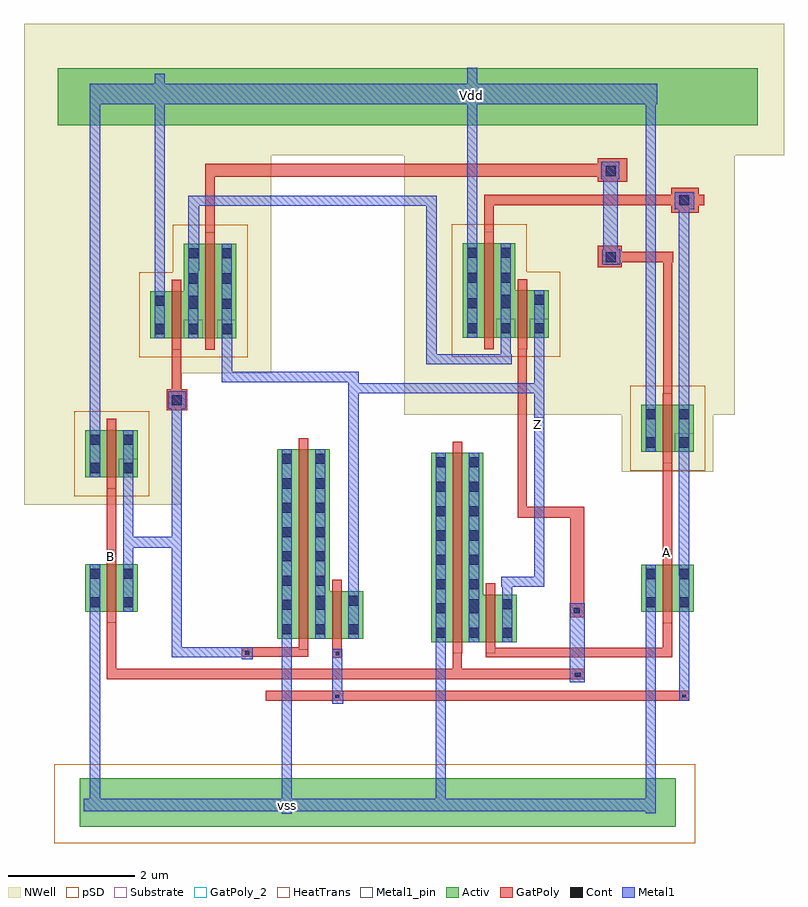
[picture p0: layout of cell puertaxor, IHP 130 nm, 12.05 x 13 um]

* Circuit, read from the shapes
.subckt puertaxor A B Vdd Z vss
XM1 n1 B vss vss sg13_lv_nmos w=0.75u l=0.15u
XM2 n2 n1 vss vss sg13_lv_nmos w=3u l=0.15u
XM3 Z n3 n2 vss sg13_lv_nmos w=0.75u l=0.15u
XM4 n4 B vss vss sg13_lv_nmos w=3u l=0.15u
XM5 Z A n4 vss sg13_lv_nmos w=0.75u l=0.15u
XM6 n3 A vss vss sg13_lv_nmos w=0.75u l=0.15u
XM7 n1 B Vdd Vdd sg13_lv_pmos w=0.75u l=0.15u
XM8 n5 n1 Vdd Vdd sg13_lv_pmos w=0.75u l=0.15u
XM9 Z A n5 Vdd sg13_lv_pmos w=1.5u l=0.15u
XM10 n5 n3 Vdd Vdd sg13_lv_pmos w=1.5u l=0.15u
XM11 Z B n5 Vdd sg13_lv_pmos w=0.75u l=0.15u
XM12 n3 A Vdd Vdd sg13_lv_pmos w=0.75u l=0.15u
.ends

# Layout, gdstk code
import gdstk
lib = gdstk.Library(unit=1e-6, precision=5e-09)
def R(c, l, rs):  # rectangles x0, y0, x1, y1
    for r in rs: c.add(gdstk.rectangle(r[:2], r[2:], *l))
def A(c, l, x, y, w, h, nx, ny, dx, dy):  # array of equal rectangles
    R(c, l, [(x+i*dx, y+j*dy, x+i*dx+w, y+j*dy+h) for i in range(nx) for j in range(ny)])
Activ = (1, 0)
GatPoly = (5, 0)
GatPoly_2 = (5, 2)
Cont = (6, 0)
Metal1 = (8, 0)
Metal1_pin = (8, 2)
pSD = (14, 0)
NWell = (31, 0)
Substrate = (40, 0)
HeatTrans = (51, 0)

pmos_2 = lib.new_cell('pmos$2')
R(pmos_2, Activ, [(0,0,0.3,0.3), (0,0,0.83,0.75), (0.53,0,0.83,0.3)])
R(pmos_2, GatPoly, [(0.34,-0.18,0.49,0.93), (0.34,-0.18,0.49,0.93)])
R(pmos_2, Cont, [(0.07,0.07,0.23,0.23), (0.6,0.07,0.76,0.23), (0.07,0.52,0.23,0.68), (0.6,0.52,0.76,0.68)])
R(pmos_2, Metal1, [(0.07,0,0.23,0.75), (0.07,0,0.23,0.75), (0.6,0,0.76,0.75), (0.6,0,0.76,0.75)])
R(pmos_2, pSD, [(-0.18,-0.3,1.01,1.05)])
R(pmos_2, NWell, [(-0.31,-0.31,1.14,1.06)])
R(pmos_2, Substrate, [(0.53,0,0.83,0.3)])
R(pmos_2, HeatTrans, [(0.34,-0.18,0.49,0.93)])
pmos_2.add(gdstk.Label('pmos', (0.415,0.375), layer=63, texttype=0))
pmos_2.add(gdstk.Label('pmos', (0.415,0.375), layer=51, texttype=0))

pmos_1 = lib.new_cell('pmos$1')
R(pmos_1, Activ, [(0,0,0.3,0.3), (0,0,0.83,1.5), (0.53,0,0.83,0.3)])
R(pmos_1, GatPoly, [(0.34,-0.18,0.49,1.68), (0.34,-0.18,0.49,1.68)])
A(pmos_1, Cont, 0.07, 0.07, 0.16, 0.16, 1, 4, 0, 0.4)
A(pmos_1, Cont, 0.6, 0.07, 0.16, 0.16, 1, 4, 0, 0.4)
R(pmos_1, Metal1, [(0.07,0,0.23,1.5), (0.07,0,0.23,1.5), (0.6,0,0.76,1.5), (0.6,0,0.76,1.5)])
R(pmos_1, pSD, [(-0.18,-0.3,1.01,1.8)])
R(pmos_1, NWell, [(-0.31,-0.31,1.14,1.81)])
R(pmos_1, Substrate, [(0.53,0,0.83,0.3)])
R(pmos_1, HeatTrans, [(0.34,-0.18,0.49,1.68)])
pmos_1.add(gdstk.Label('pmos', (0.415,0.75), layer=63, texttype=0))
pmos_1.add(gdstk.Label('pmos', (0.415,0.75), layer=51, texttype=0))

nmos_2 = lib.new_cell('nmos$2')
R(nmos_2, Activ, [(0,0,0.3,0.3), (0,0,0.83,0.75), (0.53,0,0.83,0.3)])
R(nmos_2, GatPoly, [(0.34,-0.18,0.49,0.93)])
R(nmos_2, GatPoly_2, [(0.34,-0.18,0.49,0.93)])
R(nmos_2, Cont, [(0.07,0.07,0.23,0.23), (0.6,0.07,0.76,0.23), (0.07,0.52,0.23,0.68), (0.6,0.52,0.76,0.68)])
R(nmos_2, Metal1, [(0.07,0,0.23,0.75), (0.6,0,0.76,0.75)])
R(nmos_2, Metal1_pin, [(0.07,0,0.23,0.75), (0.6,0,0.76,0.75)])
R(nmos_2, HeatTrans, [(0.34,-0.18,0.49,0.93)])
nmos_2.add(gdstk.Label('nmos', (0.415,0.375), layer=63, texttype=0))
nmos_2.add(gdstk.Label('nmos', (0.415,0.375), layer=51, texttype=0))

nmos_1 = lib.new_cell('nmos$1')
R(nmos_1, Activ, [(0,0,0.3,0.3), (0,0,0.83,3), (0.53,0,0.83,0.3)])
R(nmos_1, GatPoly, [(0.34,-0.18,0.49,3.18)])
R(nmos_1, GatPoly_2, [(0.34,-0.18,0.49,3.18)])
A(nmos_1, Cont, 0.07, 0.07, 0.16, 0.16, 1, 7, 0, 0.385)
A(nmos_1, Cont, 0.6, 0.07, 0.16, 0.16, 1, 7, 0, 0.385)
R(nmos_1, Cont, [(0.07,2.77,0.23,2.93), (0.6,2.77,0.76,2.93)])
R(nmos_1, Metal1, [(0.07,0,0.23,3), (0.6,0,0.76,3)])
R(nmos_1, Metal1_pin, [(0.07,0,0.23,3), (0.6,0,0.76,3)])
R(nmos_1, HeatTrans, [(0.34,-0.18,0.49,3.18)])
nmos_1.add(gdstk.Label('nmos', (0.415,1.5), layer=63, texttype=0))
nmos_1.add(gdstk.Label('nmos', (0.415,1.5), layer=51, texttype=0))

puertaxor = lib.new_cell('puertaxor')
R(puertaxor, Activ, [(1.405,-3.515,10.86,-2.745), (1.06,7.605,12.16,8.51)])
R(puertaxor, GatPoly, [(4.36,-1.52,11.075,-1.36), (1.84,-1.175,1.99,-0.035), (1.85,-1.175,8,-1.015), (7.32,-1.175,7.465,-0.52), (7.615,-1.175,9.415,-1.015), (5.41,-0.835,5.56,-0.655), (7.85,-0.83,10.8,-0.68), (3.98,-0.825,5.03,-0.67), (4.88,-0.825,5.03,-0.515), (10.655,-0.77,10.8,-0.14), (9.185,-0.195,9.405,1.56), (1.84,0.6,1.99,1.425), (10.655,0.765,10.805,2.35), (1.84,1.345,1.99,1.95), (8.355,1.385,8.495,4.195), (8.355,1.385,9.4,1.56), (10.66,2.29,10.805,5.6), (2.785,3.09,3.11,3.42), (2.87,3.17,3.02,4.155), (9.625,5.355,10.005,5.695), (9.71,5.43,9.885,5.6), (9.84,5.43,10.82,5.6), (3.4,5.505,3.55,6.995), (7.825,5.555,7.975,6.5), (10.79,6.22,11.225,6.615), (7.825,6.335,11.31,6.5), (9.625,6.71,10.09,7.08), (3.4,6.79,10,6.995), (9.845,6.79,10.09,6.995)])
R(puertaxor, GatPoly_2, [(1.84,0.705,1.99,0.875), (10.655,0.765,10.805,0.88)])
R(puertaxor, Cont, [(4.665,-3.21,4.725,-3.14), (5.46,-1.475,5.525,-1.425), (10.965,-1.465,11.02,-1.425), (9.26,-1.14,9.355,-1.075), (5.465,-0.795,5.52,-0.745), (4.03,-0.79,4.1,-0.73), (9.245,-0.13,9.34,-0.045), (2.87,3.165,3.03,3.325), (9.75,5.435,9.91,5.595), (10.915,6.335,11.075,6.495), (9.745,6.8,9.905,6.96), (7.555,7.995,7.715,8.155)])
R(puertaxor, Metal1, [(4.61,-3.31,4.77,-0.25), (10.385,-3.3,10.545,0.19), (1.475,-3.275,1.71,-3.07), (1.57,-3.275,10.545,-3.07), (7.05,-3.235,7.21,-0.3), (1.57,-3.23,1.73,0.125), (5.41,-1.565,5.57,-0.695), (5.565,-1.565,5.59,-1.36), (10.915,-1.52,11.075,0.105), (9.18,-1.23,9.415,-1.175), (9.18,-1.175,9.415,0.03), (3.98,-0.865,4.15,-0.825), (2.87,-0.83,4.15,-0.67), (2.87,-0.72,3.03,1.07), (8.11,-0.04,8.27,0.445), (5.67,0,5.83,3.7), (8.09,0.29,8.775,0.45), (8.615,0.29,8.775,2.955), (2.1,0.415,2.26,2.245), (10.91,0.47,11.075,1.985), (2.1,0.905,3.03,1.08), (2.87,0.905,3.03,3.31), (10.91,1.9,11.075,6.5), (1.57,2.54,1.73,8.265), (8.615,2.68,8.775,4.385), (10.385,2.945,10.545,8.265), (2.815,3.11,3.09,3.385), (2.87,3.31,3.03,3.34), (5.67,3.355,8.775,3.515), (3.66,3.53,3.825,4.455), (3.665,3.53,5.83,3.7), (6.905,3.815,7.07,6.49), (6.905,3.815,8.26,3.975), (8.085,3.815,8.245,4.465), (2.6,4.6,2.76,8.425), (7.555,4.985,7.715,8.52), (3.13,5.295,3.3,6.49), (9.69,5.395,9.975,5.635), (9.71,5.43,9.94,6.995), (10.845,6.275,11.15,6.545), (3.13,6.33,7.025,6.49), (9.675,6.75,9.96,7.025), (1.585,7.935,10.565,8.265)])
R(puertaxor, Metal1_pin, [(4.665,-3.21,4.725,-3.14), (8.615,2.795,8.775,2.975), (7.585,8.03,7.69,8.125)])
R(puertaxor, pSD, [(1.005,-3.78,11.17,-2.525)])
R(puertaxor, NWell, [(0.525,1.59,3.03,7.285), (6.55,3.015,11.795,9.215), (2.195,3.675,4.445,7.285), (0.525,7.13,12.575,9.215)])
puertaxor.add(gdstk.Reference(pmos_2, (8.015,4.235)))
puertaxor.add(gdstk.Reference(pmos_1, (7.485,4.235)))
puertaxor.add(gdstk.Reference(nmos_2, (5.07,-0.535)))
puertaxor.add(gdstk.Reference(nmos_1, (6.98,-0.59)))
puertaxor.add(gdstk.Reference(nmos_2, (7.51,-0.59)))
puertaxor.add(gdstk.Reference(nmos_1, (4.54,-0.535)))
puertaxor.add(gdstk.Reference(pmos_2, (1.5,2.02)))
puertaxor.add(gdstk.Reference(pmos_2, (10.315,2.425)))
puertaxor.add(gdstk.Reference(nmos_2, (1.5,-0.105)))
puertaxor.add(gdstk.Reference(nmos_2, (10.315,-0.11)))
puertaxor.add(gdstk.Reference(pmos_1, (3.06,4.225)))
puertaxor.add(gdstk.Reference(pmos_2, (2.53,4.225)))
puertaxor.add(gdstk.Label('Vdd', (7.625,8.075), layer=8, texttype=2))
puertaxor.add(gdstk.Label('Z', (8.665,2.86), layer=8, texttype=2))
puertaxor.add(gdstk.Label('vss', (4.695,-3.175), layer=8, texttype=2))
puertaxor.add(gdstk.Label('B', (1.89,0.77), layer=5, texttype=2))
puertaxor.add(gdstk.Label('A', (10.715,0.835), layer=5, texttype=2))

lib.write_gds('puertaxor.gds')
